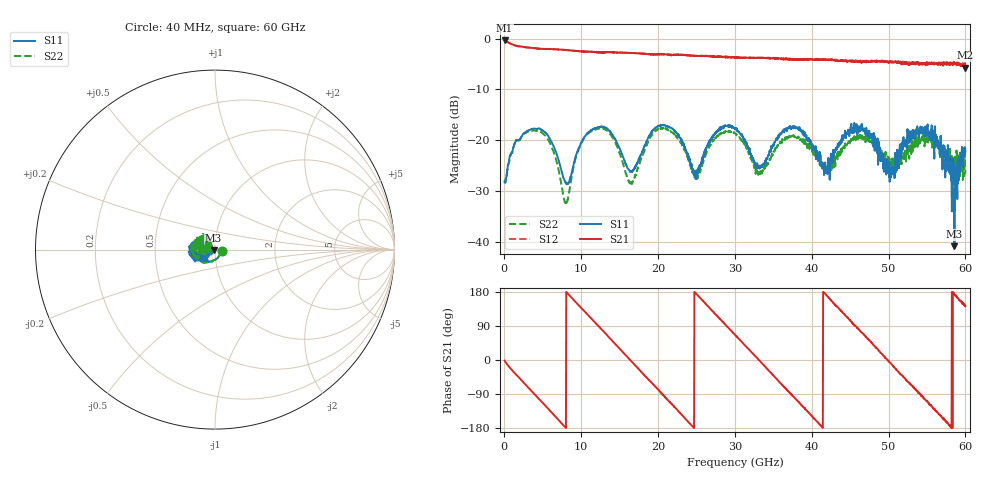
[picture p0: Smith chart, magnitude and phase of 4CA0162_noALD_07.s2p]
! File created by 'SoftPlot +Plus+ Measurement Management Software'
! SoftPlot +Plus+ Measurement Management Software
! Start 40.000000 MHz  Stop 60.000000 GHz  Points 1601
# MHZ S RI R 50
! S-Parameter data, F S11 S21 S12 S22
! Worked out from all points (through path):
!   1601 points, 40 MHz to 60 GHz, reference 50 ohm
!   highest |S21| = -0.38 dB at 40 MHz (marker M1); lowest = -5.7 dB at 60 GHz (marker M2)
!   group delay of S21, straight-line fit = 59.8 ps
!   lowest |S11| = -40.9 dB at 58.58 GHz (marker M3), VSWR 1.02, Z = 49.2 - j0.378 ohm
!   |S11| at or under -10 dB: start of sweep to end of sweep
!   |S22| runs from -32.8 to -17.6 dB; largest |S21 - S12| = 0.051
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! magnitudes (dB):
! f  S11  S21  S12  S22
! 40 MHz  -28.2  -0.4  -0.4  -27.8
! 1.502 GHz  -20.2  -1.4  -1.4  -20.2
! 4.537 GHz  -17.7  -2.0  -2.0  -18.2
! 6.298 GHz  -20.8  -2.1  -2.1  -21.8
! 8.06 GHz  -28.3  -2.3  -2.2  -32.8
! 10.05 GHz  -20.4  -2.6  -2.5  -20.5
! 13.38 GHz  -17.7  -2.7  -2.6  -18.1
! 16.49 GHz  -26.2  -2.8  -2.9  -28.4
! 20.05 GHz  -17.3  -3.1  -3.1  -17.8
! 22.41 GHz  -18.5  -3.2  -3.2  -19.3
! 24.92 GHz  -27.6  -3.4  -3.4  -27.6
! 27.43 GHz  -18.6  -3.6  -3.5  -19.6
! 30.02 GHz  -17.6  -3.7  -3.6  -18.7
! 33.13 GHz  -25.2  -3.8  -3.8  -26.3
! 36.92 GHz  -17.8  -4.1  -4.0  -19.4
! 40.03 GHz  -21.2  -4.0  -4.1  -22.1
! 42.09 GHz  -26.1  -4.1  -4.1  -26.1
! 46.58 GHz  -17.8  -4.5  -4.5  -19.8
! 50.03 GHz  -24.2  -4.6  -4.7  -24.0
! 54.45 GHz  -17.9  -4.9  -4.8  -19.1
! 58.58 GHz  -40.9  -4.8  -4.7  -24.0
! 60 GHz  -22.3  -5.7  -5.1  -26.6
